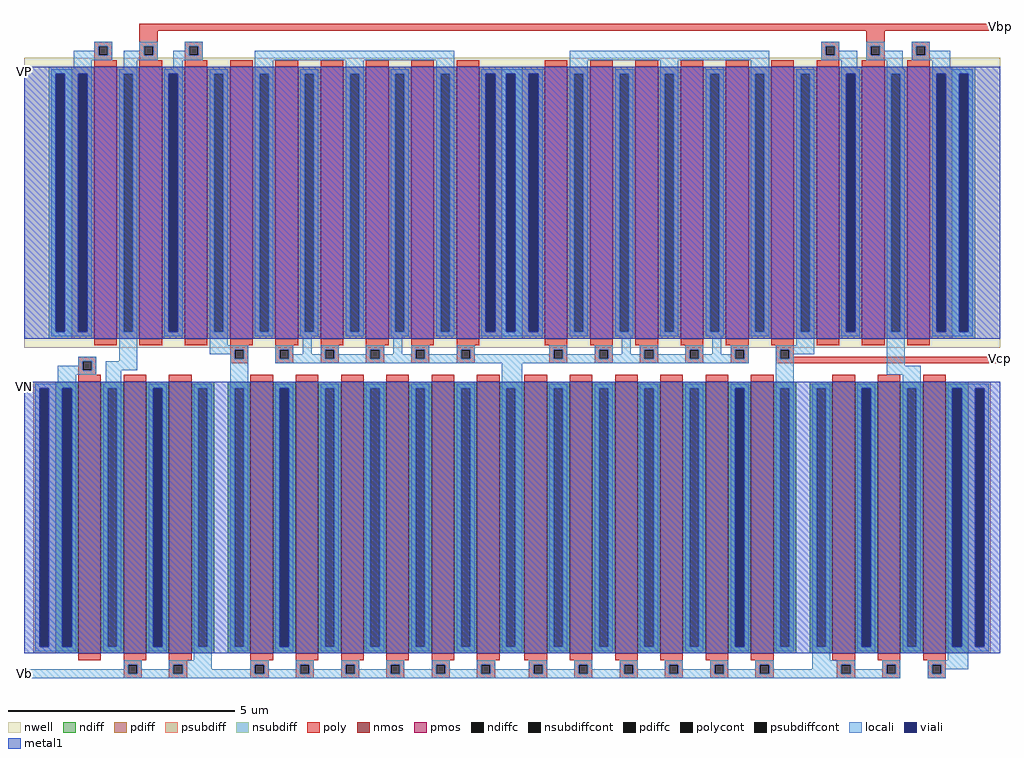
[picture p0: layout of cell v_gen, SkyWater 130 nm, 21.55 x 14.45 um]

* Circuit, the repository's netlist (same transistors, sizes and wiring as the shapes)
* NGSPICE file created from v_gen.ext - technology: sky130A

X0 VP VP Vcp VP sky130_fd_pr__pfet_01v8 ad=1.5 pd=6.5 as=1.5 ps=6.5 w=6 l=0.5
X1 VP VP Vbp VP sky130_fd_pr__pfet_01v8 ad=3 pd=13 as=1.5 ps=6.5 w=6 l=0.5
X2 VN Vb a_500_1500# VN sky130_fd_pr__nfet_01v8 ad=1.5 pd=6.5 as=3 ps=13 w=6 l=0.5
X3 a_800_1390# a_800_1390# a_2400_1500# VP sky130_fd_pr__pfet_01v8 ad=1.5 pd=6.5 as=1.5 ps=6.5 w=6 l=0.5
X4 a_800_1390# a_800_1390# a_2400_1500# VP sky130_fd_pr__pfet_01v8 ad=1.5 pd=6.5 as=1.5 ps=6.5 w=6 l=0.5
X5 VN VN Vbp VN sky130_fd_pr__nfet_01v8 ad=3 pd=13 as=1.5 ps=6.5 w=6 l=0.5
X6 a_2640_60# Vb a_2440_60# VN sky130_fd_pr__nfet_01v8 ad=1.5 pd=6.5 as=1.5 ps=6.5 w=6 l=0.5
X7 VN Vb a_2840_60# VN sky130_fd_pr__nfet_01v8 ad=1.5 pd=6.5 as=1.5 ps=6.5 w=6 l=0.5
X8 VN Vb Vb VN sky130_fd_pr__nfet_01v8 ad=1.5 pd=6.5 as=3 ps=13 w=6 l=0.5
X9 VN Vb Vbp VN sky130_fd_pr__nfet_01v8 ad=1.5 pd=6.5 as=1.5 ps=6.5 w=6 l=0.5
X10 a_2240_60# Vb a_800_1390# VN sky130_fd_pr__nfet_01v8 ad=1.5 pd=6.5 as=3 ps=13 w=6 l=0.5
X11 VP Vbp Vbp VP sky130_fd_pr__pfet_01v8 ad=1.5 pd=6.5 as=1.5 ps=6.5 w=6 l=0.5
X12 a_800_1390# Vb a_1660_60# VN sky130_fd_pr__nfet_01v8 ad=3 pd=13 as=1.5 ps=6.5 w=6 l=0.5
X13 a_700_1500# a_500_1500# a_500_1500# VP sky130_fd_pr__pfet_01v8 ad=1.5 pd=6.5 as=1.5 ps=6.5 w=6 l=0.5
X14 a_700_1500# a_800_1390# a_800_1390# VP sky130_fd_pr__pfet_01v8 ad=1.5 pd=6.5 as=1.5 ps=6.5 w=6 l=0.5
X15 a_1460_60# Vb a_1260_60# VN sky130_fd_pr__nfet_01v8 ad=1.5 pd=6.5 as=1.5 ps=6.5 w=6 l=0.5
X16 a_700_1500# a_800_1390# a_800_1390# VP sky130_fd_pr__pfet_01v8 ad=1.5 pd=6.5 as=1.5 ps=6.5 w=6 l=0.5
X17 Vbp VN VN VN sky130_fd_pr__nfet_01v8 ad=1.5 pd=6.5 as=3 ps=13 w=6 l=0.5
X18 Vcp Vcp a_2400_1500# VP sky130_fd_pr__pfet_01v8 ad=1.5 pd=6.5 as=1.5 ps=6.5 w=6 l=0.5
X19 Vbp Vbp VP VP sky130_fd_pr__pfet_01v8 ad=1.5 pd=6.5 as=1.5 ps=6.5 w=6 l=0.5
X20 a_1060_60# Vb VN VN sky130_fd_pr__nfet_01v8 ad=1.5 pd=6.5 as=1.5 ps=6.5 w=6 l=0.5
X21 a_2400_1500# a_800_1390# VP VP sky130_fd_pr__pfet_01v8 ad=1.5 pd=6.5 as=3 ps=13 w=6 l=0.5
X22 a_2400_1500# a_800_1390# a_800_1390# VP sky130_fd_pr__pfet_01v8 ad=1.5 pd=6.5 as=1.5 ps=6.5 w=6 l=0.5
X23 Vb Vb VN VN sky130_fd_pr__nfet_01v8 ad=3 pd=13 as=1.5 ps=6.5 w=6 l=0.5
X24 a_2840_60# Vb a_2640_60# VN sky130_fd_pr__nfet_01v8 ad=1.5 pd=6.5 as=1.5 ps=6.5 w=6 l=0.5
X25 Vbp Vb VN VN sky130_fd_pr__nfet_01v8 ad=1.5 pd=6.5 as=1.5 ps=6.5 w=6 l=0.5
X26 a_2440_60# Vb a_2240_60# VN sky130_fd_pr__nfet_01v8 ad=1.5 pd=6.5 as=1.5 ps=6.5 w=6 l=0.5
X27 Vbp VP VP VP sky130_fd_pr__pfet_01v8 ad=1.5 pd=6.5 as=3 ps=13 w=6 l=0.5
X28 a_500_1500# VP VP VP sky130_fd_pr__pfet_01v8 ad=1.5 pd=6.5 as=1.5 ps=6.5 w=6 l=0.5
X29 a_1660_60# Vb a_1460_60# VN sky130_fd_pr__nfet_01v8 ad=1.5 pd=6.5 as=1.5 ps=6.5 w=6 l=0.5
X30 a_800_1390# a_800_1390# a_700_1500# VP sky130_fd_pr__pfet_01v8 ad=1.5 pd=6.5 as=1.5 ps=6.5 w=6 l=0.5
X31 a_800_1390# a_800_1390# a_700_1500# VP sky130_fd_pr__pfet_01v8 ad=1.5 pd=6.5 as=1.5 ps=6.5 w=6 l=0.5
X32 a_1260_60# Vb a_1060_60# VN sky130_fd_pr__nfet_01v8 ad=1.5 pd=6.5 as=1.5 ps=6.5 w=6 l=0.5
X33 VP a_800_1390# a_700_1500# VP sky130_fd_pr__pfet_01v8 ad=3 pd=13 as=1.5 ps=6.5 w=6 l=0.5
X34 a_2400_1500# a_800_1390# a_800_1390# VP sky130_fd_pr__pfet_01v8 ad=1.5 pd=6.5 as=1.5 ps=6.5 w=6 l=0.5
X35 Vcp Vb VN VN sky130_fd_pr__nfet_01v8 ad=3 pd=13 as=1.5 ps=6.5 w=6 l=0.5

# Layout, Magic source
magic
tech sky130A
<< nwell >>
rect -35 720 2120 1360
<< nmos >>
rect 85 45 135 645
rect 185 45 235 645
rect 285 45 335 645
rect 465 45 515 645
rect 565 45 615 645
rect 665 45 715 645
rect 765 45 815 645
rect 865 45 915 645
rect 965 45 1015 645
rect 1070 45 1120 645
rect 1170 45 1220 645
rect 1270 45 1320 645
rect 1370 45 1420 645
rect 1470 45 1520 645
rect 1570 45 1620 645
rect 1750 45 1800 645
rect 1850 45 1900 645
rect 1950 45 2000 645
<< pmos >>
rect 120 740 170 1340
rect 220 740 270 1340
rect 320 740 370 1340
rect 420 740 470 1340
rect 520 740 570 1340
rect 620 740 670 1340
rect 720 740 770 1340
rect 820 740 870 1340
rect 920 740 970 1340
rect 1115 740 1165 1340
rect 1215 740 1265 1340
rect 1315 740 1365 1340
rect 1415 740 1465 1340
rect 1515 740 1565 1340
rect 1615 740 1665 1340
rect 1715 740 1765 1340
rect 1815 740 1865 1340
rect 1915 740 1965 1340
<< ndiff >>
rect 35 630 85 645
rect 35 60 50 630
rect 70 60 85 630
rect 35 45 85 60
rect 135 630 185 645
rect 135 60 150 630
rect 170 60 185 630
rect 135 45 185 60
rect 235 630 285 645
rect 235 60 250 630
rect 270 60 285 630
rect 235 45 285 60
rect 335 630 385 645
rect 335 60 350 630
rect 370 60 385 630
rect 335 45 385 60
rect 415 630 465 645
rect 415 60 430 630
rect 450 60 465 630
rect 415 45 465 60
rect 515 630 565 645
rect 515 60 530 630
rect 550 60 565 630
rect 515 45 565 60
rect 615 630 665 645
rect 615 60 630 630
rect 650 60 665 630
rect 615 45 665 60
rect 715 630 765 645
rect 715 60 730 630
rect 750 60 765 630
rect 715 45 765 60
rect 815 630 865 645
rect 815 60 830 630
rect 850 60 865 630
rect 815 45 865 60
rect 915 630 965 645
rect 915 60 930 630
rect 950 60 965 630
rect 915 45 965 60
rect 1015 630 1070 645
rect 1015 60 1030 630
rect 1050 60 1070 630
rect 1015 45 1070 60
rect 1120 630 1170 645
rect 1120 60 1135 630
rect 1155 60 1170 630
rect 1120 45 1170 60
rect 1220 630 1270 645
rect 1220 60 1235 630
rect 1255 60 1270 630
rect 1220 45 1270 60
rect 1320 630 1370 645
rect 1320 60 1335 630
rect 1355 60 1370 630
rect 1320 45 1370 60
rect 1420 630 1470 645
rect 1420 60 1435 630
rect 1455 60 1470 630
rect 1420 45 1470 60
rect 1520 630 1570 645
rect 1520 60 1535 630
rect 1555 60 1570 630
rect 1520 45 1570 60
rect 1620 630 1670 645
rect 1620 60 1635 630
rect 1655 60 1670 630
rect 1620 45 1670 60
rect 1700 630 1750 645
rect 1700 60 1715 630
rect 1735 60 1750 630
rect 1700 45 1750 60
rect 1800 630 1850 645
rect 1800 60 1815 630
rect 1835 60 1850 630
rect 1800 45 1850 60
rect 1900 630 1950 645
rect 1900 60 1915 630
rect 1935 60 1950 630
rect 1900 45 1950 60
rect 2000 630 2050 645
rect 2000 60 2015 630
rect 2035 60 2050 630
rect 2000 45 2050 60
<< pdiff >>
rect 70 1325 120 1340
rect 70 755 85 1325
rect 105 755 120 1325
rect 70 740 120 755
rect 170 1325 220 1340
rect 170 755 185 1325
rect 205 755 220 1325
rect 170 740 220 755
rect 270 1325 320 1340
rect 270 755 285 1325
rect 305 755 320 1325
rect 270 740 320 755
rect 370 1325 420 1340
rect 370 755 385 1325
rect 405 755 420 1325
rect 370 740 420 755
rect 470 1325 520 1340
rect 470 755 485 1325
rect 505 755 520 1325
rect 470 740 520 755
rect 570 1325 620 1340
rect 570 755 585 1325
rect 605 755 620 1325
rect 570 740 620 755
rect 670 1325 720 1340
rect 670 755 685 1325
rect 705 755 720 1325
rect 670 740 720 755
rect 770 1325 820 1340
rect 770 755 785 1325
rect 805 755 820 1325
rect 770 740 820 755
rect 870 1325 920 1340
rect 870 755 885 1325
rect 905 755 920 1325
rect 870 740 920 755
rect 970 1325 1020 1340
rect 1065 1325 1115 1340
rect 970 755 985 1325
rect 1005 755 1020 1325
rect 1065 755 1080 1325
rect 1100 755 1115 1325
rect 970 740 1020 755
rect 1065 740 1115 755
rect 1165 1325 1215 1340
rect 1165 755 1180 1325
rect 1200 755 1215 1325
rect 1165 740 1215 755
rect 1265 1325 1315 1340
rect 1265 755 1280 1325
rect 1300 755 1315 1325
rect 1265 740 1315 755
rect 1365 1325 1415 1340
rect 1365 755 1380 1325
rect 1400 755 1415 1325
rect 1365 740 1415 755
rect 1465 1325 1515 1340
rect 1465 755 1480 1325
rect 1500 755 1515 1325
rect 1465 740 1515 755
rect 1565 1325 1615 1340
rect 1565 755 1580 1325
rect 1600 755 1615 1325
rect 1565 740 1615 755
rect 1665 1325 1715 1340
rect 1665 755 1680 1325
rect 1700 755 1715 1325
rect 1665 740 1715 755
rect 1765 1325 1815 1340
rect 1765 755 1780 1325
rect 1800 755 1815 1325
rect 1765 740 1815 755
rect 1865 1325 1915 1340
rect 1865 755 1880 1325
rect 1900 755 1915 1325
rect 1865 740 1915 755
rect 1965 1325 2015 1340
rect 1965 755 1980 1325
rect 2000 755 2015 1325
rect 1965 740 2015 755
<< ndiffc >>
rect 50 60 70 630
rect 150 60 170 630
rect 250 60 270 630
rect 350 60 370 630
rect 430 60 450 630
rect 530 60 550 630
rect 630 60 650 630
rect 730 60 750 630
rect 830 60 850 630
rect 930 60 950 630
rect 1030 60 1050 630
rect 1135 60 1155 630
rect 1235 60 1255 630
rect 1335 60 1355 630
rect 1435 60 1455 630
rect 1535 60 1555 630
rect 1635 60 1655 630
rect 1715 60 1735 630
rect 1815 60 1835 630
rect 1915 60 1935 630
rect 2015 60 2035 630
<< pdiffc >>
rect 85 755 105 1325
rect 185 755 205 1325
rect 285 755 305 1325
rect 385 755 405 1325
rect 485 755 505 1325
rect 585 755 605 1325
rect 685 755 705 1325
rect 785 755 805 1325
rect 885 755 905 1325
rect 985 755 1005 1325
rect 1080 755 1100 1325
rect 1180 755 1200 1325
rect 1280 755 1300 1325
rect 1380 755 1400 1325
rect 1480 755 1500 1325
rect 1580 755 1600 1325
rect 1680 755 1700 1325
rect 1780 755 1800 1325
rect 1880 755 1900 1325
rect 1980 755 2000 1325
<< psubdiff >>
rect -15 630 35 645
rect -15 60 0 630
rect 20 60 35 630
rect -15 45 35 60
rect 2050 630 2100 645
rect 2050 60 2065 630
rect 2085 60 2100 630
rect 2050 45 2100 60
<< nsubdiff >>
rect 20 1325 70 1340
rect 20 755 35 1325
rect 55 755 70 1325
rect 20 740 70 755
rect 1020 1325 1065 1340
rect 1020 755 1030 1325
rect 1050 755 1065 1325
rect 1020 740 1065 755
rect 2015 1325 2065 1340
rect 2015 755 2030 1325
rect 2050 755 2065 1325
rect 2015 740 2065 755
<< psubdiffcont >>
rect 0 60 20 630
rect 2065 60 2085 630
<< nsubdiffcont >>
rect 35 755 55 1325
rect 1030 755 1050 1325
rect 2030 755 2050 1325
<< poly >>
rect 220 1420 2120 1435
rect 120 1385 160 1395
rect 120 1365 130 1385
rect 150 1365 160 1385
rect 120 1355 160 1365
rect 220 1385 260 1420
rect 220 1365 230 1385
rect 250 1365 260 1385
rect 220 1355 260 1365
rect 320 1385 360 1395
rect 320 1365 330 1385
rect 350 1365 360 1385
rect 320 1355 360 1365
rect 1725 1385 1765 1395
rect 1725 1365 1735 1385
rect 1755 1365 1765 1385
rect 1725 1355 1765 1365
rect 1825 1385 1865 1420
rect 1825 1365 1835 1385
rect 1855 1365 1865 1385
rect 1825 1355 1865 1365
rect 1925 1385 1965 1395
rect 1925 1365 1935 1385
rect 1955 1365 1965 1385
rect 1925 1355 1965 1365
rect 120 1340 170 1355
rect 220 1340 270 1355
rect 320 1340 370 1355
rect 420 1340 470 1355
rect 520 1340 570 1355
rect 620 1340 670 1355
rect 720 1340 770 1355
rect 820 1340 870 1355
rect 920 1340 970 1355
rect 1115 1340 1165 1355
rect 1215 1340 1265 1355
rect 1315 1340 1365 1355
rect 1415 1340 1465 1355
rect 1515 1340 1565 1355
rect 1615 1340 1665 1355
rect 1715 1340 1765 1355
rect 1815 1340 1865 1355
rect 1915 1340 1965 1355
rect 120 725 170 740
rect 220 725 270 740
rect 320 725 370 740
rect 420 725 470 740
rect 520 725 570 740
rect 620 725 670 740
rect 720 725 770 740
rect 820 725 870 740
rect 920 725 970 740
rect 1115 725 1165 740
rect 1215 725 1265 740
rect 1315 725 1365 740
rect 1415 725 1465 740
rect 1515 725 1565 740
rect 1615 725 1665 740
rect 1715 725 1765 740
rect 1815 725 1865 740
rect 1915 725 1965 740
rect 420 715 460 725
rect 85 690 125 700
rect 85 670 95 690
rect 115 670 125 690
rect 420 695 430 715
rect 450 695 460 715
rect 420 685 460 695
rect 520 715 560 725
rect 520 695 530 715
rect 550 695 560 715
rect 520 685 560 695
rect 620 715 660 725
rect 620 695 630 715
rect 650 695 660 715
rect 620 685 660 695
rect 720 715 760 725
rect 720 695 730 715
rect 750 695 760 715
rect 720 685 760 695
rect 820 715 860 725
rect 820 695 830 715
rect 850 695 860 715
rect 820 685 860 695
rect 920 715 960 725
rect 920 695 930 715
rect 950 695 960 715
rect 920 685 960 695
rect 1125 715 1165 725
rect 1125 695 1135 715
rect 1155 695 1165 715
rect 1125 685 1165 695
rect 1225 715 1265 725
rect 1225 695 1235 715
rect 1255 695 1265 715
rect 1225 685 1265 695
rect 1325 715 1365 725
rect 1325 695 1335 715
rect 1355 695 1365 715
rect 1325 685 1365 695
rect 1425 715 1465 725
rect 1425 695 1435 715
rect 1455 695 1465 715
rect 1425 685 1465 695
rect 1525 715 1565 725
rect 1525 695 1535 715
rect 1555 695 1565 715
rect 1525 685 1565 695
rect 1625 715 1665 725
rect 1625 695 1635 715
rect 1655 700 1665 715
rect 1655 695 2120 700
rect 1625 685 2120 695
rect 85 660 125 670
rect 85 645 135 660
rect 185 645 235 660
rect 285 645 335 660
rect 465 645 515 660
rect 565 645 615 660
rect 665 645 715 660
rect 765 645 815 660
rect 865 645 915 660
rect 965 645 1015 660
rect 1070 645 1120 660
rect 1170 645 1220 660
rect 1270 645 1320 660
rect 1370 645 1420 660
rect 1470 645 1520 660
rect 1570 645 1620 660
rect 1750 645 1800 660
rect 1850 645 1900 660
rect 1950 645 2000 660
rect 85 30 135 45
rect 185 30 235 45
rect 285 30 335 45
rect 465 30 515 45
rect 565 30 615 45
rect 665 30 715 45
rect 765 30 815 45
rect 865 30 915 45
rect 965 30 1015 45
rect 1070 30 1120 45
rect 1170 30 1220 45
rect 1270 30 1320 45
rect 1370 30 1420 45
rect 1470 30 1520 45
rect 1570 30 1620 45
rect 1750 30 1800 45
rect 1850 30 1900 45
rect 1950 30 2000 45
rect 185 20 225 30
rect 185 0 195 20
rect 215 0 225 20
rect 185 -10 225 0
rect 285 20 325 30
rect 285 0 295 20
rect 315 0 325 20
rect 285 -10 325 0
rect 465 20 505 30
rect 465 0 475 20
rect 495 0 505 20
rect 465 -10 505 0
rect 565 20 605 30
rect 565 0 575 20
rect 595 0 605 20
rect 565 -10 605 0
rect 665 20 705 30
rect 665 0 675 20
rect 695 0 705 20
rect 665 -10 705 0
rect 765 20 805 30
rect 765 0 775 20
rect 795 0 805 20
rect 765 -10 805 0
rect 865 20 905 30
rect 865 0 875 20
rect 895 0 905 20
rect 865 -10 905 0
rect 965 20 1005 30
rect 965 0 975 20
rect 995 0 1005 20
rect 965 -10 1005 0
rect 1080 20 1120 30
rect 1080 0 1090 20
rect 1110 0 1120 20
rect 1080 -10 1120 0
rect 1180 20 1220 30
rect 1180 0 1190 20
rect 1210 0 1220 20
rect 1180 -10 1220 0
rect 1280 20 1320 30
rect 1280 0 1290 20
rect 1310 0 1320 20
rect 1280 -10 1320 0
rect 1380 20 1420 30
rect 1380 0 1390 20
rect 1410 0 1420 20
rect 1380 -10 1420 0
rect 1480 20 1520 30
rect 1480 0 1490 20
rect 1510 0 1520 20
rect 1480 -10 1520 0
rect 1580 20 1620 30
rect 1580 0 1590 20
rect 1610 0 1620 20
rect 1580 -10 1620 0
rect 1760 20 1800 30
rect 1760 0 1770 20
rect 1790 0 1800 20
rect 1760 -10 1800 0
rect 1860 20 1900 30
rect 1860 0 1870 20
rect 1890 0 1900 20
rect 1860 -10 1900 0
rect 1960 20 2000 30
rect 1960 0 1970 20
rect 1990 0 2000 20
rect 1960 -10 2000 0
<< polycont >>
rect 130 1365 150 1385
rect 230 1365 250 1385
rect 330 1365 350 1385
rect 1735 1365 1755 1385
rect 1835 1365 1855 1385
rect 1935 1365 1955 1385
rect 95 670 115 690
rect 430 695 450 715
rect 530 695 550 715
rect 630 695 650 715
rect 730 695 750 715
rect 830 695 850 715
rect 930 695 950 715
rect 1135 695 1155 715
rect 1235 695 1255 715
rect 1335 695 1355 715
rect 1435 695 1455 715
rect 1535 695 1555 715
rect 1635 695 1655 715
rect 195 0 215 20
rect 295 0 315 20
rect 475 0 495 20
rect 575 0 595 20
rect 675 0 695 20
rect 775 0 795 20
rect 875 0 895 20
rect 975 0 995 20
rect 1090 0 1110 20
rect 1190 0 1210 20
rect 1290 0 1310 20
rect 1390 0 1410 20
rect 1490 0 1510 20
rect 1590 0 1610 20
rect 1770 0 1790 20
rect 1870 0 1890 20
rect 1970 0 1990 20
<< locali >>
rect 120 1385 160 1395
rect 120 1375 130 1385
rect 75 1365 130 1375
rect 150 1365 160 1385
rect 220 1385 260 1395
rect 220 1375 230 1385
rect 75 1355 160 1365
rect 185 1365 230 1375
rect 250 1365 260 1385
rect 320 1385 360 1395
rect 320 1375 330 1385
rect 185 1355 260 1365
rect 295 1365 330 1375
rect 350 1365 360 1385
rect 1725 1385 1765 1395
rect 295 1355 360 1365
rect 475 1355 915 1375
rect 75 1335 115 1355
rect 185 1335 215 1355
rect 295 1335 315 1355
rect 25 1325 115 1335
rect 25 755 35 1325
rect 55 755 85 1325
rect 105 755 115 1325
rect 25 745 115 755
rect 175 1325 215 1335
rect 175 755 185 1325
rect 205 755 215 1325
rect 85 690 125 700
rect 175 690 215 755
rect 275 1325 315 1335
rect 275 755 285 1325
rect 305 755 315 1325
rect 275 745 315 755
rect 375 1325 415 1335
rect 375 755 385 1325
rect 405 755 415 1325
rect 375 725 415 755
rect 475 1325 515 1355
rect 475 755 485 1325
rect 505 755 515 1325
rect 475 745 515 755
rect 575 1325 615 1335
rect 575 755 585 1325
rect 605 755 615 1325
rect 575 745 615 755
rect 675 1325 715 1355
rect 675 755 685 1325
rect 705 755 715 1325
rect 675 745 715 755
rect 775 1325 815 1335
rect 775 755 785 1325
rect 805 755 815 1325
rect 775 745 815 755
rect 875 1325 915 1355
rect 1170 1355 1610 1375
rect 1725 1365 1735 1385
rect 1755 1375 1765 1385
rect 1825 1385 1865 1395
rect 1755 1365 1805 1375
rect 1725 1355 1805 1365
rect 1825 1365 1835 1385
rect 1855 1375 1865 1385
rect 1925 1385 1965 1395
rect 1855 1365 1905 1375
rect 1825 1355 1905 1365
rect 1925 1365 1935 1385
rect 1955 1375 1965 1385
rect 1955 1365 2010 1375
rect 1925 1355 2010 1365
rect 875 755 885 1325
rect 905 755 915 1325
rect 875 745 915 755
rect 975 1325 1110 1335
rect 975 755 985 1325
rect 1005 755 1030 1325
rect 1050 755 1080 1325
rect 1100 755 1110 1325
rect 975 745 1110 755
rect 1170 1325 1210 1355
rect 1170 755 1180 1325
rect 1200 755 1210 1325
rect 1170 745 1210 755
rect 1270 1325 1310 1335
rect 1270 755 1280 1325
rect 1300 755 1310 1325
rect 1270 745 1310 755
rect 1370 1325 1410 1355
rect 1370 755 1380 1325
rect 1400 755 1410 1325
rect 1370 745 1410 755
rect 1470 1325 1510 1335
rect 1470 755 1480 1325
rect 1500 755 1510 1325
rect 1470 745 1510 755
rect 1570 1325 1610 1355
rect 1770 1335 1805 1355
rect 1870 1335 1905 1355
rect 1970 1335 2010 1355
rect 1570 755 1580 1325
rect 1600 755 1610 1325
rect 1570 745 1610 755
rect 1670 1325 1710 1335
rect 1670 755 1680 1325
rect 1700 755 1710 1325
rect 375 715 460 725
rect 375 705 430 715
rect 85 680 95 690
rect 40 670 95 680
rect 115 670 125 690
rect 40 660 125 670
rect 145 670 215 690
rect 420 695 430 705
rect 450 695 460 715
rect 40 640 80 660
rect 145 640 180 670
rect -10 630 80 640
rect -10 60 0 630
rect 20 60 50 630
rect 70 60 80 630
rect -10 50 80 60
rect 140 630 180 640
rect 140 60 150 630
rect 170 60 180 630
rect 140 50 180 60
rect 240 630 280 640
rect 240 60 250 630
rect 270 60 280 630
rect 240 50 280 60
rect 340 630 380 640
rect 340 60 350 630
rect 370 60 380 630
rect 340 30 380 60
rect 420 630 460 695
rect 520 715 560 725
rect 520 695 530 715
rect 550 705 560 715
rect 580 705 600 745
rect 620 715 660 725
rect 620 705 630 715
rect 550 695 630 705
rect 650 705 660 715
rect 720 715 760 725
rect 720 705 730 715
rect 650 695 730 705
rect 750 705 760 715
rect 780 705 800 745
rect 820 715 860 725
rect 820 705 830 715
rect 750 695 830 705
rect 850 705 860 715
rect 920 715 960 725
rect 920 705 930 715
rect 850 695 930 705
rect 950 705 960 715
rect 1125 715 1165 725
rect 1125 705 1135 715
rect 950 695 1135 705
rect 1155 705 1165 715
rect 1225 715 1265 725
rect 1225 705 1235 715
rect 1155 695 1235 705
rect 1255 705 1265 715
rect 1285 705 1305 745
rect 1325 715 1365 725
rect 1325 705 1335 715
rect 1255 695 1335 705
rect 1355 705 1365 715
rect 1425 715 1465 725
rect 1425 705 1435 715
rect 1355 695 1435 705
rect 1455 705 1465 715
rect 1485 705 1505 745
rect 1670 725 1710 755
rect 1770 1325 1810 1335
rect 1770 755 1780 1325
rect 1800 755 1810 1325
rect 1770 745 1810 755
rect 1870 1325 1910 1335
rect 1870 755 1880 1325
rect 1900 755 1910 1325
rect 1525 715 1565 725
rect 1525 705 1535 715
rect 1455 695 1535 705
rect 1555 695 1565 715
rect 520 685 1565 695
rect 1625 715 1710 725
rect 1625 695 1635 715
rect 1655 705 1710 715
rect 1655 695 1665 705
rect 420 60 430 630
rect 450 60 460 630
rect 420 50 460 60
rect 520 630 560 640
rect 520 60 530 630
rect 550 60 560 630
rect 520 50 560 60
rect 620 630 660 640
rect 620 60 630 630
rect 650 60 660 630
rect 620 50 660 60
rect 720 630 760 640
rect 720 60 730 630
rect 750 60 760 630
rect 720 50 760 60
rect 820 630 860 640
rect 820 60 830 630
rect 850 60 860 630
rect 820 50 860 60
rect 920 630 960 640
rect 920 60 930 630
rect 950 60 960 630
rect 920 50 960 60
rect 1020 630 1065 685
rect 1020 60 1030 630
rect 1050 60 1065 630
rect 1020 50 1065 60
rect 1125 630 1165 640
rect 1125 60 1135 630
rect 1155 60 1165 630
rect 1125 50 1165 60
rect 1225 630 1265 640
rect 1225 60 1235 630
rect 1255 60 1265 630
rect 1225 50 1265 60
rect 1325 630 1365 640
rect 1325 60 1335 630
rect 1355 60 1365 630
rect 1325 50 1365 60
rect 1425 630 1465 640
rect 1425 60 1435 630
rect 1455 60 1465 630
rect 1425 50 1465 60
rect 1525 630 1565 640
rect 1525 60 1535 630
rect 1555 60 1565 630
rect 1525 50 1565 60
rect 1625 630 1665 695
rect 1870 680 1910 755
rect 1970 1325 2060 1335
rect 1970 755 1980 1325
rect 2000 755 2030 1325
rect 2050 755 2060 1325
rect 1970 745 2060 755
rect 1870 660 1945 680
rect 1625 60 1635 630
rect 1655 60 1665 630
rect 1625 50 1665 60
rect 1705 630 1745 640
rect 1705 60 1715 630
rect 1735 60 1745 630
rect 1705 30 1745 60
rect 1805 630 1845 640
rect 1805 60 1815 630
rect 1835 60 1845 630
rect 1805 50 1845 60
rect 1905 630 1945 660
rect 1905 60 1915 630
rect 1935 60 1945 630
rect 1905 50 1945 60
rect 2005 630 2095 640
rect 2005 60 2015 630
rect 2035 60 2065 630
rect 2085 60 2095 630
rect 2005 50 2095 60
rect 2005 30 2050 50
rect 185 20 225 30
rect 185 10 195 20
rect -35 0 195 10
rect 215 10 225 20
rect 285 20 380 30
rect 285 10 295 20
rect 215 0 295 10
rect 315 10 380 20
rect 465 20 505 30
rect 465 10 475 20
rect 315 0 475 10
rect 495 10 505 20
rect 565 20 605 30
rect 565 10 575 20
rect 495 0 575 10
rect 595 10 605 20
rect 665 20 705 30
rect 665 10 675 20
rect 595 0 675 10
rect 695 10 705 20
rect 765 20 805 30
rect 765 10 775 20
rect 695 0 775 10
rect 795 10 805 20
rect 865 20 905 30
rect 865 10 875 20
rect 795 0 875 10
rect 895 10 905 20
rect 965 20 1005 30
rect 965 10 975 20
rect 895 0 975 10
rect 995 10 1005 20
rect 1080 20 1120 30
rect 1080 10 1090 20
rect 995 0 1090 10
rect 1110 10 1120 20
rect 1180 20 1220 30
rect 1180 10 1190 20
rect 1110 0 1190 10
rect 1210 10 1220 20
rect 1280 20 1320 30
rect 1280 10 1290 20
rect 1210 0 1290 10
rect 1310 10 1320 20
rect 1380 20 1420 30
rect 1380 10 1390 20
rect 1310 0 1390 10
rect 1410 10 1420 20
rect 1480 20 1520 30
rect 1480 10 1490 20
rect 1410 0 1490 10
rect 1510 10 1520 20
rect 1580 20 1620 30
rect 1580 10 1590 20
rect 1510 0 1590 10
rect 1610 10 1620 20
rect 1705 20 1800 30
rect 1705 10 1770 20
rect 1610 0 1770 10
rect 1790 10 1800 20
rect 1860 20 1900 30
rect 1860 10 1870 20
rect 1790 0 1870 10
rect 1890 0 1900 20
rect -35 -10 1900 0
rect 1960 20 2050 30
rect 1960 0 1970 20
rect 1990 10 2050 20
rect 1990 0 2000 10
rect 1960 -10 2000 0
<< viali >>
rect 35 755 55 1325
rect 85 755 105 1325
rect 285 755 305 1325
rect 985 755 1005 1325
rect 1030 755 1050 1325
rect 1080 755 1100 1325
rect 0 60 20 630
rect 50 60 70 630
rect 250 60 270 630
rect 1780 755 1800 1325
rect 530 60 550 630
rect 1535 60 1555 630
rect 1980 755 2000 1325
rect 2030 755 2050 1325
rect 1815 60 1835 630
rect 2015 60 2035 630
rect 2065 60 2085 630
<< metal1 >>
rect -35 1325 2120 1340
rect -35 755 35 1325
rect 55 755 85 1325
rect 105 755 285 1325
rect 305 755 985 1325
rect 1005 755 1030 1325
rect 1050 755 1080 1325
rect 1100 755 1780 1325
rect 1800 755 1980 1325
rect 2000 755 2030 1325
rect 2050 755 2120 1325
rect -35 740 2120 755
rect -35 630 2120 645
rect -35 60 0 630
rect 20 60 50 630
rect 70 60 250 630
rect 270 60 530 630
rect 550 60 1535 630
rect 1555 60 1815 630
rect 1835 60 2015 630
rect 2035 60 2065 630
rect 2085 60 2120 630
rect -35 45 2120 60
<< labels >>
rlabel metal1 -35 1330 -35 1330 7 VP
port 1 w
rlabel poly 2120 1430 2120 1430 3 Vbp
port 5 e
rlabel locali -35 0 -35 0 7 Vb
port 3 s
rlabel metal1 -35 635 -35 635 7 VN
port 2 w
rlabel poly 2120 695 2120 695 3 Vcp
port 6 e
<< end >>
